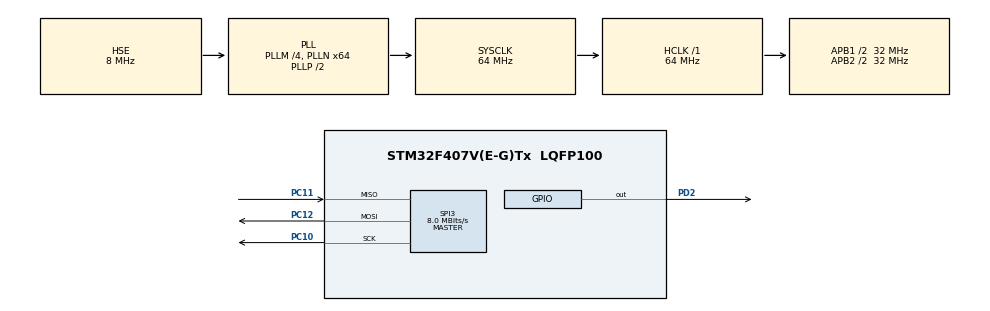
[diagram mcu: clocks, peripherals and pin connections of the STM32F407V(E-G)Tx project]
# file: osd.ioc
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Mcu.Family=STM32F4
Mcu.Name=STM32F407V(E-G)Tx
Mcu.Package=LQFP100
NVIC.PriorityGroup=NVIC_PRIORITYGROUP_4
PC10.Mode=Full_Duplex_Master
PC10.Signal=SPI3_SCK
PC11.Mode=Full_Duplex_Master
PC11.Signal=SPI3_MISO
PC12.Mode=Full_Duplex_Master
PC12.Signal=SPI3_MOSI
PD2.GPIO_Speed=GPIO_SPEED_FREQ_HIGH
PD2.PinState=GPIO_PIN_SET
PD2.Signal=GPIO_Output
PH0-OSC_IN.Mode=HSE-External-Oscillator
PH0-OSC_IN.Signal=RCC_OSC_IN
PH1-OSC_OUT.Mode=HSE-External-Oscillator
PH1-OSC_OUT.Signal=RCC_OSC_OUT
ProjectManager.HeapSize=0x200
ProjectManager.StackSize=0x400
ProjectManager.TargetToolchain=STM32CubeIDE
RCC.48MHZClocksFreq_Value=32000000
RCC.AHBFreq_Value=64000000
RCC.APB1CLKDivider=RCC_HCLK_DIV2
RCC.APB1Freq_Value=32000000
RCC.APB1TimFreq_Value=64000000
RCC.APB2CLKDivider=RCC_HCLK_DIV2
RCC.APB2Freq_Value=32000000
RCC.APB2TimFreq_Value=64000000
RCC.CortexFreq_Value=64000000
RCC.HCLKFreq_Value=64000000
RCC.HSE_VALUE=8000000
RCC.HSI_VALUE=16000000
RCC.LSE_VALUE=32768
RCC.PLLM=4
RCC.PLLN=64
RCC.PLLSourceVirtual=RCC_PLLSOURCE_HSE
RCC.SYSCLKFreq_VALUE=64000000
RCC.SYSCLKSource=RCC_SYSCLKSOURCE_PLLCLK
RCC.VCOOutputFreq_Value=128000000
SPI3.BaudRatePrescaler=SPI_BAUDRATEPRESCALER_4
SPI3.CalculateBaudRate=8.0 MBits/s
SPI3.DataSize=SPI_DATASIZE_8BIT
SPI3.Direction=SPI_DIRECTION_2LINES
SPI3.Mode=SPI_MODE_MASTER
SPI3.VirtualType=VM_MASTER
board=custom

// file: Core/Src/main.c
/* USER CODE BEGIN Header */
/**
  ******************************************************************************
  * @file           : main.c
  * @brief          : Main program body
  ******************************************************************************
  * @attention
  *
  * Copyright (c) 2025 STMicroelectronics.
  * All rights reserved.
  *
  * This software is licensed under terms that can be found in the LICENSE file
  * in the root directory of this software component.
  * If no LICENSE file comes with this software, it is provided AS-IS.
  *
  ******************************************************************************
  */
/* USER CODE END Header */
#include "main.h"

/* USER CODE BEGIN Includes */
#include "osd.h"
#include "AT7456E_registers.h"
/* USER CODE END Includes */

SPI_HandleTypeDef hspi3;

void SystemClock_Config(void);
static void MX_GPIO_Init(void);
static void MX_SPI3_Init(void);

int main(void)
{

  /* MCU Configuration--------------------------------------------------------*/

  /* Reset of all peripherals, Initializes the Flash interface and the Systick. */
  HAL_Init();

  /* Configure the system clock */
  SystemClock_Config();

  /* Initialize all configured peripherals */
  MX_GPIO_Init();
  MX_SPI3_Init();
  /* USER CODE BEGIN 2 */
  	  uint8_t ch[5] = {0};
  	  ch[0] = 'T';
  	  ch[1] = 'E';
  	  ch[2] = 'S';
  	  ch[3] = 'T';
//  	osd_reset();

  	osd_init();
  	//osd_upload_font();
  	osd_enable(1);
  	//osd_upload_custom_char(0, custom_char_T);
  	osd_print_custom_char(10,6,'T');
  	osd_print_custom_char(11,6,'E');
  	osd_print_custom_char(12,6,'S');
  	osd_print_custom_char(13,6,'T');
  	osd_print_custom_char(14,6,' ');
  	osd_print_custom_char(15,6,'O');
  	osd_print_custom_char(16,6,'S');
  	osd_print_custom_char(17,6,'D');
//    osd_clear_screen();
//    osd_print_text(ch, 6, 6);
    //osd_print_text('A',0,0);
  	//osd_all_char();

  /* USER CODE END 2 */

  /* Infinite loop */
  while (1)
  {

  }
}

void SystemClock_Config(void)
{
  RCC_OscInitTypeDef RCC_OscInitStruct = {0};
  RCC_ClkInitTypeDef RCC_ClkInitStruct = {0};

  /** Configure the main internal regulator output voltage
  */
  __HAL_RCC_PWR_CLK_ENABLE();
  __HAL_PWR_VOLTAGESCALING_CONFIG(PWR_REGULATOR_VOLTAGE_SCALE1);

  /** Initializes the RCC Oscillators according to the specified parameters
  * in the RCC_OscInitTypeDef structure.
  */
  RCC_OscInitStruct.OscillatorType = RCC_OSCILLATORTYPE_HSE;
  RCC_OscInitStruct.HSEState = RCC_HSE_ON;
  RCC_OscInitStruct.PLL.PLLState = RCC_PLL_ON;
  RCC_OscInitStruct.PLL.PLLSource = RCC_PLLSOURCE_HSE;
  RCC_OscInitStruct.PLL.PLLM = 4;
  RCC_OscInitStruct.PLL.PLLN = 64;
  RCC_OscInitStruct.PLL.PLLP = RCC_PLLP_DIV2;
  RCC_OscInitStruct.PLL.PLLQ = 4;
  if (HAL_RCC_OscConfig(&RCC_OscInitStruct) != HAL_OK)
  {
    Error_Handler();
  }

  /** Initializes the CPU, AHB and APB buses clocks
  */
  RCC_ClkInitStruct.ClockType = RCC_CLOCKTYPE_HCLK|RCC_CLOCKTYPE_SYSCLK
                              |RCC_CLOCKTYPE_PCLK1|RCC_CLOCKTYPE_PCLK2;
  RCC_ClkInitStruct.SYSCLKSource = RCC_SYSCLKSOURCE_PLLCLK;
  RCC_ClkInitStruct.AHBCLKDivider = RCC_SYSCLK_DIV1;
  RCC_ClkInitStruct.APB1CLKDivider = RCC_HCLK_DIV2;
  RCC_ClkInitStruct.APB2CLKDivider = RCC_HCLK_DIV2;

  if (HAL_RCC_ClockConfig(&RCC_ClkInitStruct, FLASH_LATENCY_2) != HAL_OK)
  {
    Error_Handler();
  }
}

static void MX_SPI3_Init(void)
{

  /* SPI3 parameter configuration*/
  hspi3.Instance = SPI3;
  hspi3.Init.Mode = SPI_MODE_MASTER;
  hspi3.Init.Direction = SPI_DIRECTION_2LINES;
  hspi3.Init.DataSize = SPI_DATASIZE_8BIT;
  hspi3.Init.CLKPolarity = SPI_POLARITY_LOW;
  hspi3.Init.CLKPhase = SPI_PHASE_1EDGE;
  hspi3.Init.NSS = SPI_NSS_SOFT;
  hspi3.Init.BaudRatePrescaler = SPI_BAUDRATEPRESCALER_4;
  hspi3.Init.FirstBit = SPI_FIRSTBIT_MSB;
  hspi3.Init.TIMode = SPI_TIMODE_DISABLE;
  hspi3.Init.CRCCalculation = SPI_CRCCALCULATION_DISABLE;
  hspi3.Init.CRCPolynomial = 10;
  if (HAL_SPI_Init(&hspi3) != HAL_OK)
  {
    Error_Handler();
  }

}

static void MX_GPIO_Init(void)
{
  GPIO_InitTypeDef GPIO_InitStruct = {0};

  /* GPIO Ports Clock Enable */
  __HAL_RCC_GPIOH_CLK_ENABLE();
  __HAL_RCC_GPIOC_CLK_ENABLE();
  __HAL_RCC_GPIOD_CLK_ENABLE();

  /*Configure GPIO pin Output Level */
  HAL_GPIO_WritePin(GPIOD, GPIO_PIN_2, GPIO_PIN_SET);

  /*Configure GPIO pin : PD2 */
  GPIO_InitStruct.Pin = GPIO_PIN_2;
  GPIO_InitStruct.Mode = GPIO_MODE_OUTPUT_PP;
  GPIO_InitStruct.Pull = GPIO_NOPULL;
  GPIO_InitStruct.Speed = GPIO_SPEED_FREQ_HIGH;
  HAL_GPIO_Init(GPIOD, &GPIO_InitStruct);

}

void Error_Handler(void)
{
  __disable_irq();
  while (1)
  {
  }
}
